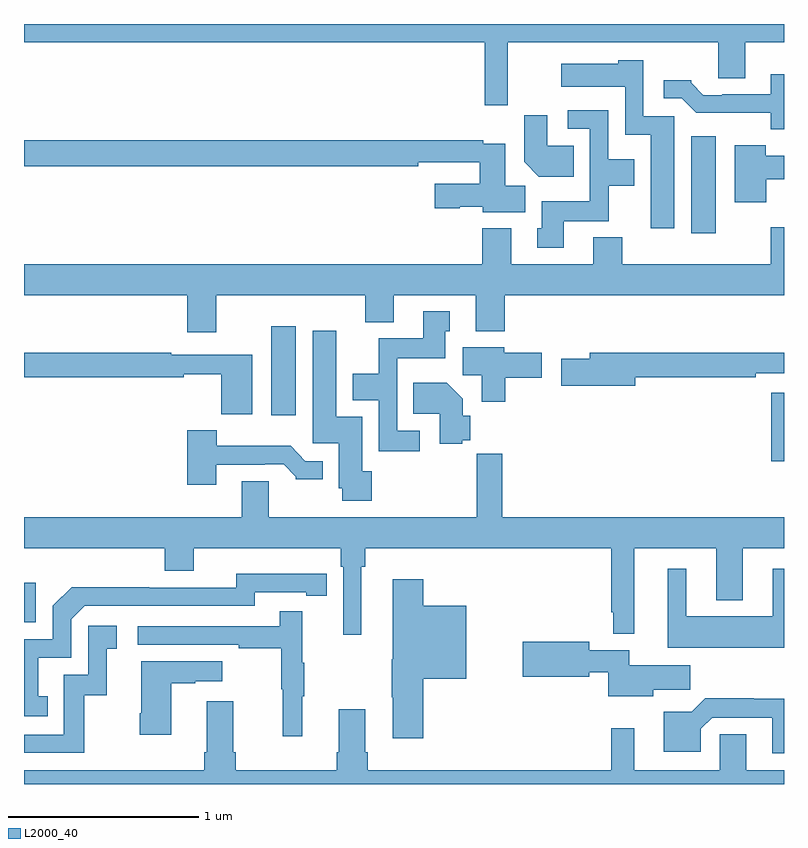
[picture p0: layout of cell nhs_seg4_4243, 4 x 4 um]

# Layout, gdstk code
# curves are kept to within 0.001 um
import gdstk
lib = gdstk.Library(unit=1e-6, precision=1e-09)
def R(c, l, rs):  # rectangles x0, y0, x1, y1
    for r in rs: c.add(gdstk.rectangle(r[:2], r[2:], *l))
def P(c, l, *ps):  # polygons
    for p in ps: c.add(gdstk.Polygon(p, *l))
L2000_40 = (2000, 40)

nhs_seg4_4243 = lib.new_cell('nhs_seg4_4243')
R(nhs_seg4_4243, L2000_40, [(337,809.751,337.062,809.959), (340.934,810.598,341,810.958), (338.3,810.84,338.431,811.309), (340.511,811.8,340.642,812.308)])
P(nhs_seg4_4243, L2000_40, [(339.545,812.804),(340.655,812.804),(340.655,812.614),(340.795,812.614),(340.795,812.804),(341,812.804),(341,812.9),(337,812.9),(337,812.804),(339.424,812.804),(339.424,812.472),(339.545,812.472)],
  [(340.423,812.415),(340.26,812.415),(340.26,812.71),(340.128,812.71),(340.128,812.692),(339.828,812.692),(339.828,812.57),(340.164,812.57),(340.164,812.318),(340.298,812.318),(340.298,811.824),(340.423,811.824)],
  [(341,812.635),(340.931,812.635),(340.931,812.529),(340.675,812.529),(340.675,812.526),(340.576,812.526),(340.512,812.59),(340.512,812.605),(340.368,812.605),(340.368,812.508),(340.461,812.508),(340.537,812.432),(340.929,812.432),(340.929,812.345),(341,812.345)],
  [(339.841,811.862),(340.077,811.862),(340.077,812.048),(340.213,812.048),(340.213,812.188),(340.074,812.188),(340.074,812.445),(339.861,812.445),(339.861,812.349),(339.978,812.349),(339.978,811.966),(339.725,811.966),(339.725,811.824),(339.701,811.824),(339.701,811.722),(339.841,811.722)],
  [(339.893,812.26),(339.754,812.26),(339.754,812.419),(339.632,812.419),(339.632,812.174),(339.71,812.096),(339.893,812.096)],
  [(339.637,812.048),(339.532,812.048),(339.532,812.27),(339.416,812.27),(339.416,812.288),(337,812.288),(337,812.152),(339.074,812.152),(339.074,812.172),(339.398,812.172),(339.398,812.059),(339.162,812.059),(339.162,811.93),(339.294,811.93),(339.294,811.937),(339.414,811.937),(339.414,811.91),(339.637,811.91)],
  [(340.906,812.084),(341,812.084),(341,812.206),(340.904,812.206),(340.904,812.263),(340.742,812.263),(340.742,811.962),(340.906,811.962)],
  [(338.011,811.472),(338.795,811.472),(338.795,811.331),(338.947,811.331),(338.947,811.472),(339.377,811.472),(339.377,811.283),(339.53,811.283),(339.53,811.472),(341,811.472),(341,811.831),(340.931,811.831),(340.931,811.636),(340.148,811.636),(340.148,811.777),(339.995,811.777),(339.995,811.636),(339.565,811.636),(339.565,811.825),(339.413,811.825),(339.413,811.636),(337,811.636),(337,811.472),(337.859,811.472),(337.859,811.278),(338.011,811.278)],
  [(339.082,810.759),(338.964,810.759),(338.964,811.142),(339.217,811.142),(339.217,811.284),(339.241,811.284),(339.241,811.387),(339.101,811.387),(339.101,811.246),(338.866,811.246),(338.866,811.06),(338.729,811.06),(338.729,810.92),(338.868,810.92),(338.868,810.651),(339.082,810.651)],
  [(338.831,810.546),(338.779,810.546),(338.779,810.832),(338.644,810.832),(338.644,811.285),(338.519,811.285),(338.519,810.693),(338.657,810.693),(338.657,810.456),(338.674,810.456),(338.674,810.39),(338.831,810.39)],
  [(339.532,811.037),(339.724,811.037),(339.724,811.171),(339.528,811.171),(339.528,811.198),(339.308,811.198),(339.308,811.051),(339.41,811.051),(339.41,810.912),(339.532,810.912)],
  [(340.216,811.042),(340.85,811.042),(340.85,811.062),(341,811.062),(341,811.171),(339.977,811.171),(339.977,811.137),(339.828,811.137),(339.828,810.995),(340.216,810.995)],
  [(338.2,811.158),(337.775,811.158),(337.775,811.171),(337,811.171),(337,811.042),(337.84,811.042),(337.84,811.057),(338.038,811.057),(338.038,810.845),(338.2,810.845)],
  [(339.306,810.71),(339.349,810.71),(339.349,810.838),(339.31,810.838),(339.31,810.928),(339.226,811.012),(339.049,811.012),(339.049,810.848),(339.188,810.848),(339.188,810.691),(339.306,810.691)],
  [(338.011,810.579),(338.267,810.579),(338.267,810.582),(338.366,810.582),(338.43,810.518),(338.43,810.503),(338.572,810.503),(338.572,810.6),(338.481,810.6),(338.403,810.679),(338.014,810.679),(338.014,810.763),(337.859,810.763),(337.859,810.474),(338.011,810.474)],
  [(338.776,810.044),(338.795,810.044),(338.795,810.14),(340.092,810.14),(340.092,809.803),(340.102,809.803),(340.102,809.691),(340.213,809.691),(340.213,810.14),(340.643,810.14),(340.643,809.867),(340.783,809.867),(340.783,810.14),(341,810.14),(341,810.304),(339.518,810.304),(339.518,810.637),(339.383,810.637),(339.383,810.524),(339.382,810.524),(339.382,810.304),(338.287,810.304),(338.287,810.494),(338.147,810.494),(338.147,810.304),(337,810.304),(337,810.14),(337.742,810.14),(337.742,810.023),(337.894,810.023),(337.894,810.14),(338.666,810.14),(338.666,810.044),(338.679,810.044),(338.679,809.685),(338.776,809.685)],
  [(341,810.034),(340.94,810.034),(340.94,809.782),(340.486,809.782),(340.486,810.034),(340.388,810.034),(340.388,809.618),(341,809.618)],
  [(337.124,809.361),(337.075,809.361),(337.075,809.565),(337.248,809.565),(337.248,809.766),(337.32,809.838),(338.214,809.838),(338.214,809.91),(338.486,809.91),(338.486,809.89),(338.594,809.89),(338.594,810.006),(338.118,810.007),(338.118,809.934),(337.658,809.934),(337.658,809.936),(337.25,809.936),(337.152,809.838),(337.152,809.661),(337,809.661),(337,809.256),(337.124,809.256)],
  [(339.101,809.453),(339.328,809.453),(339.328,809.839),(339.101,809.839),(339.101,809.977),(338.942,809.977),(338.942,809.557),(338.935,809.557),(338.935,809.357),(338.942,809.357),(338.942,809.142),(339.101,809.142)],
  [(338.465,809.363),(338.476,809.363),(338.476,809.537),(338.465,809.537),(338.465,809.809),(338.347,809.809),(338.347,809.73),(337.599,809.73),(337.599,809.634),(338.131,809.634),(338.131,809.614),(338.355,809.614),(338.355,809.4),(338.362,809.4),(338.362,809.151),(338.465,809.151)],
  [(337.318,809.367),(337.436,809.367),(337.436,809.613),(337.489,809.613),(337.489,809.734),(337.338,809.734),(337.338,809.475),(337.209,809.475),(337.209,809.16),(337,809.16),(337,809.064),(337.318,809.064)],
  [(340.312,809.395),(340.507,809.395),(340.507,809.524),(340.186,809.524),(340.186,809.604),(339.976,809.604),(339.976,809.648),(339.624,809.648),(339.624,809.465),(339.976,809.465),(339.976,809.488),(340.076,809.488),(340.076,809.363),(340.312,809.363)],
  [(337.774,809.431),(337.901,809.431),(337.901,809.441),(338.044,809.441),(338.044,809.545),(337.616,809.545),(337.616,809.272),(337.609,809.272),(337.609,809.16),(337.774,809.16)],
  [(341,809.348),(340.841,809.348),(340.841,809.351),(340.586,809.351),(340.515,809.28),(340.367,809.28),(340.367,809.069),(340.563,809.069),(340.563,809.19),(340.623,809.25),(340.937,809.25),(340.937,809.061),(341,809.061)],
  [(341,808.972),(340.801,808.972),(340.801,809.162),(340.662,809.162),(340.662,808.972),(340.213,808.972),(340.213,809.194),(340.092,809.194),(340.092,808.972),(338.81,808.972),(338.81,809.068),(338.797,809.068),(338.797,809.293),(338.657,809.293),(338.657,809.068),(338.645,809.068),(338.645,808.972),(338.114,808.972),(338.114,809.068),(338.101,809.068),(338.101,809.335),(337.961,809.335),(337.961,809.068),(337.949,809.068),(337.949,808.972),(337,808.972),(337,808.9),(341,808.9)])

lib.write_gds('nhs_seg4_4243.gds')
